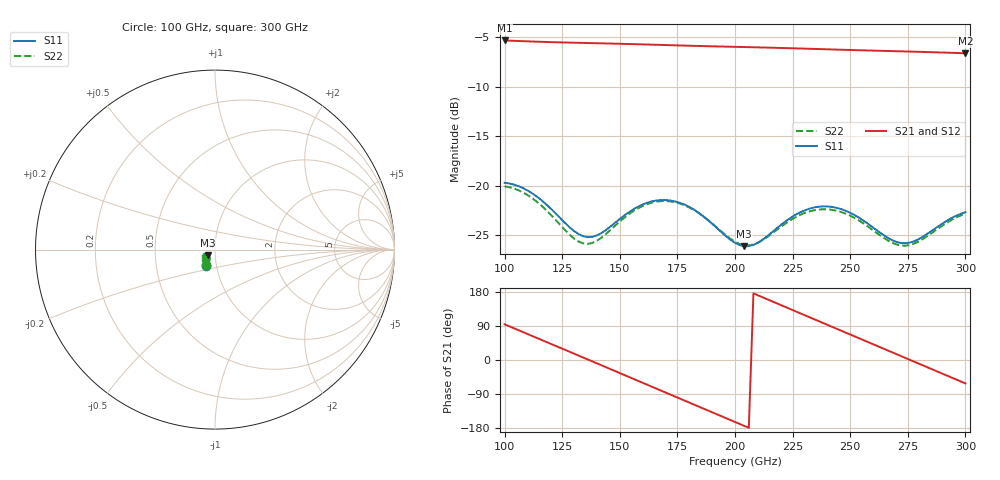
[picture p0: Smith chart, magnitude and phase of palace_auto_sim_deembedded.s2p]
! Created with skrf 1.11.0 (http://scikit-rf.org).
# GHz S DB R 50.0
!freq dBS11 angS11 dBS21 angS21 dBS12 angS12 dBS22 angS22
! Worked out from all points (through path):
!   101 points, 100 GHz to 300 GHz, reference 50 ohm
!   highest |S21| = -5.31 dB at 100 GHz (marker M1); lowest = -6.6 dB at 300 GHz (marker M2)
!   group delay of S21, straight-line fit = 7.17 ps
!   lowest |S11| = -26.1 dB at 204 GHz (marker M3), VSWR 1.10, Z = 46.3 - j2.97 ohm
!   |S11| at or under -10 dB: start of sweep to end of sweep
!   |S22| runs from -26.1 to -20.1 dB; largest |S21 - S12| = 8.9e-13
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100  -19.70 -118.3  -5.31 94.2  -5.31 94.2  -20.06 -120.0
108  -20.24 -129.4  -5.38 73.6  -5.38 73.6  -20.68 -131.3
116  -21.47 -138.1  -5.44 53.1  -5.44 53.1  -22.02 -140.0
126  -23.71 -140.9  -5.51 27.4  -5.51 27.4  -24.43 -142.1
134  -25.10 -133.0  -5.55 6.8  -5.55 6.8  -25.83 -132.5
142  -24.79 -122.0  -5.60 -13.8  -5.60 -13.8  -25.26 -120.6
150  -23.36 -118.6  -5.64 -34.5  -5.64 -34.5  -23.62 -117.7
160  -21.89 -124.6  -5.70 -60.4  -5.70 -60.4  -22.03 -124.8
168  -21.44 -133.1  -5.76 -81.0  -5.76 -81.0  -21.56 -134.0
182  -22.39 -147.8  -5.85 -117.1  -5.85 -117.1  -22.43 -149.5
192  -24.25 -151.6  -5.91 -142.9  -5.91 -142.9  -24.20 -154.1
200  -25.77 -145.6  -5.95 -163.5  -5.95 -163.5  -25.66 -149.4
204  -26.11 -139.7  -5.97 -173.9  -5.97 -173.9  -26.01 -144.3
218  -24.33 -125.5  -6.05 149.9  -6.05 149.9  -24.49 -131.3
234  -22.21 -134.6  -6.16 108.6  -6.16 108.6  -22.49 -140.3
242  -22.14 -142.4  -6.22 87.9  -6.22 87.9  -22.43 -148.1
250  -22.73 -149.3  -6.27 67.3  -6.27 67.3  -23.03 -154.9
260  -24.24 -152.7  -6.33 41.5  -6.33 41.5  -24.52 -158.4
268  -25.48 -148.0  -6.38 20.9  -6.38 20.9  -25.75 -153.8
276  -25.74 -138.2  -6.43 0.2  -6.43 0.2  -25.99 -144.1
284  -24.78 -131.2  -6.48 -20.5  -6.48 -20.5  -25.01 -137.3
300  -22.68 -135.7  -6.60 -61.8  -6.60 -61.8  -22.83 -141.8
